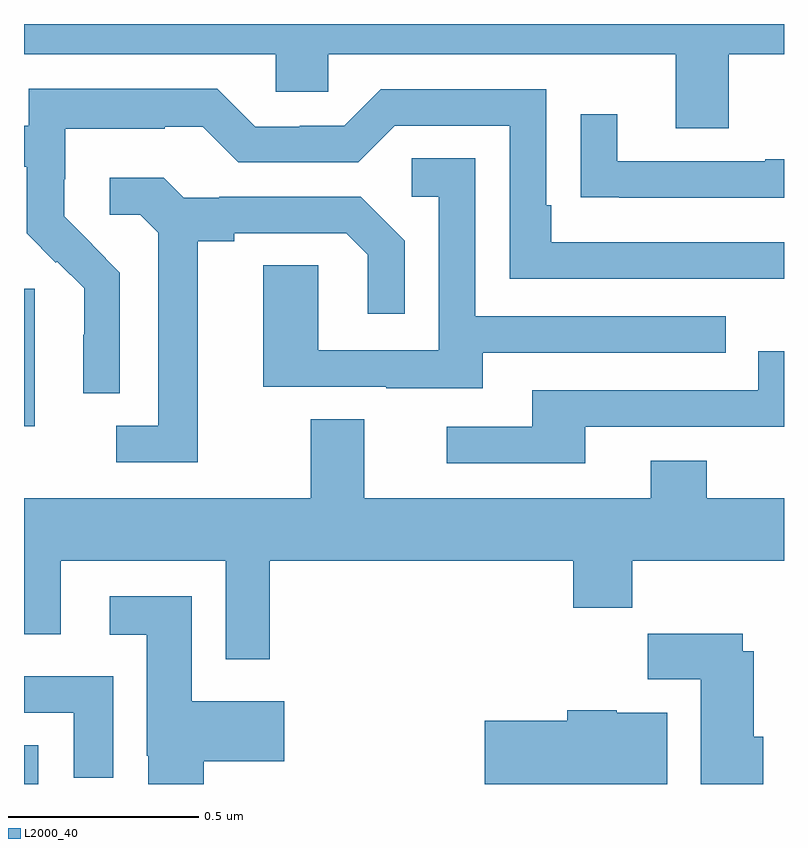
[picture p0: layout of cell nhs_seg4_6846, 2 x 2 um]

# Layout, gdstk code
import gdstk
lib = gdstk.Library(unit=1e-6, precision=1e-09)
def R(c, l, rs):  # rectangles x0, y0, x1, y1
    for r in rs: c.add(gdstk.rectangle(r[:2], r[2:], *l))
def P(c, l, *ps):  # polygons
    for p in ps: c.add(gdstk.Polygon(p, *l))
L2000_40 = (2000, 40)

nhs_seg4_6846 = lib.new_cell('nhs_seg4_6846')
R(nhs_seg4_6846, L2000_40, [(195,794.9,195.037,795.002), (195,795.842,195.028,796.203)])
P(nhs_seg4_6846, L2000_40, [(196.855,796.82),(197,796.82),(197,796.9),(195,796.9),(195,796.82),(195.663,796.82),(195.663,796.722),(195.801,796.722),(195.801,796.82),(196.715,796.82),(196.715,796.626),(196.855,796.626)],
  [(195.252,796.246),(195.179,796.319),(195.18,796.32),(195.106,796.394),(195.106,796.491),(195.108,796.491),(195.108,796.625),(195.371,796.625),(195.371,796.629),(195.471,796.629),(195.564,796.536),(195.879,796.536),(195.975,796.632),(196.278,796.632),(196.278,796.23),(197,796.23),(197,796.326),(196.387,796.326),(196.387,796.423),(196.374,796.423),(196.374,796.728),(195.939,796.728),(195.843,796.632),(195.725,796.632),(195.725,796.629),(195.609,796.629),(195.509,796.729),(195.012,796.729),(195.012,796.632),(195,796.632),(195,796.524),(195.007,796.524),(195.007,796.349),(195.084,796.272),(195.087,796.275),(195.158,796.205),(195.158,796.082),(195.156,796.082),(195.156,795.928),(195.252,795.928)],
  [(197,796.544),(196.951,796.544),(196.951,796.539),(196.561,796.539),(196.561,796.663),(196.465,796.663),(196.465,796.444),(196.567,796.444),(196.567,796.443),(197,796.443)],
  [(196.207,796.035),(196.847,796.035),(196.847,796.131),(196.188,796.131),(196.188,796.547),(196.02,796.547),(196.02,796.446),(196.092,796.446),(196.092,796.041),(195.774,796.041),(195.774,796.265),(195.629,796.265),(195.629,795.945),(195.953,795.945),(195.953,795.941),(196.207,795.941)],
  [(195.457,796.328),(195.553,796.328),(195.553,796.35),(195.848,796.35),(195.905,796.293),(195.905,796.137),(196.002,796.137),(196.002,796.33),(195.886,796.446),(195.514,796.446),(195.514,796.443),(195.42,796.443),(195.368,796.495),(195.225,796.495),(195.225,796.398),(195.306,796.398),(195.353,796.351),(195.353,795.843),(195.243,795.843),(195.243,795.747),(195.457,795.747)],
  [(196.477,795.84),(197,795.84),(197,796.039),(196.932,796.039),(196.932,795.936),(196.337,795.936),(196.337,795.84),(196.113,795.84),(196.113,795.744),(196.477,795.744)],
  [(195.647,795.488),(196.445,795.488),(196.445,795.364),(196.601,795.364),(196.601,795.488),(197,795.488),(197,795.652),(196.797,795.652),(196.797,795.751),(196.649,795.751),(196.649,795.652),(195.895,795.652),(195.895,795.86),(195.755,795.86),(195.755,795.652),(195,795.652),(195,795.294),(195.097,795.294),(195.097,795.488),(195.531,795.488),(195.531,795.228),(195.647,795.228)],
  [(195.473,794.96),(195.685,794.96),(195.685,795.118),(195.442,795.118),(195.442,795.394),(195.225,795.394),(195.225,795.293),(195.323,795.293),(195.323,794.974),(195.327,794.974),(195.327,794.9),(195.473,794.9)],
  [(196.945,795.024),(196.921,795.024),(196.921,795.25),(196.891,795.25),(196.891,795.295),(196.642,795.295),(196.642,795.176),(196.781,795.176),(196.781,794.9),(196.945,794.9)],
  [(195.235,795.183),(195,795.183),(195,795.087),(195.131,795.087),(195.131,794.916),(195.235,794.916)],
  [(196.693,795.088),(196.56,795.088),(196.56,795.094),(196.43,795.094),(196.43,795.066),(196.212,795.066),(196.212,794.9),(196.693,794.9)])

lib.write_gds('nhs_seg4_6846.gds')
